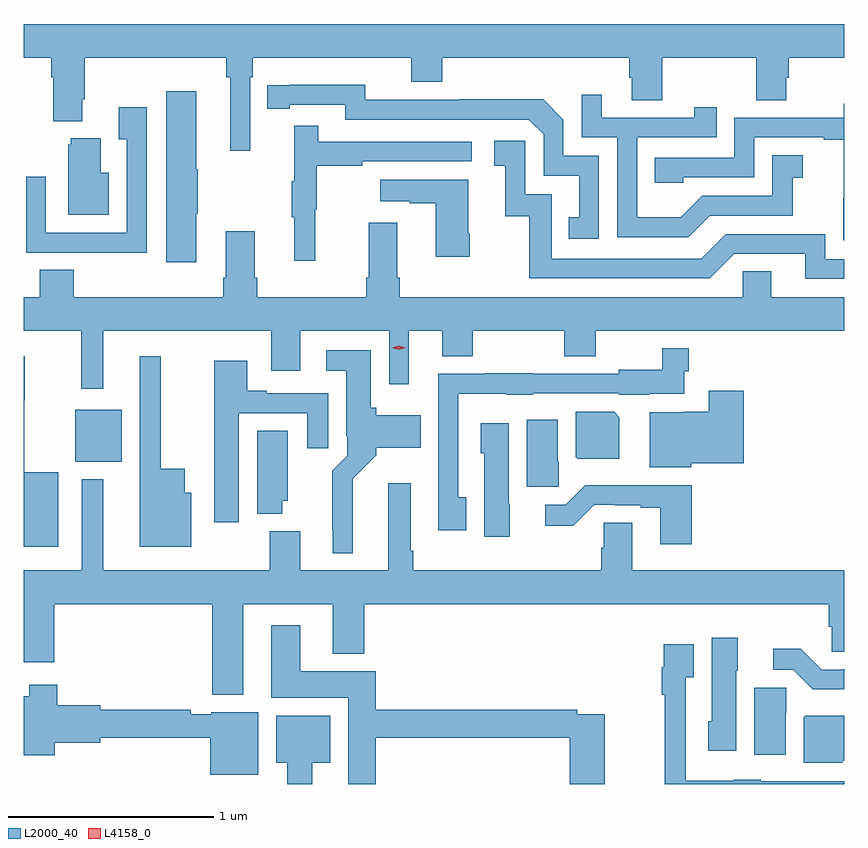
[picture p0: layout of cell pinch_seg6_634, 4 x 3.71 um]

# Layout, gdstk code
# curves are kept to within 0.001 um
import gdstk
lib = gdstk.Library(unit=1e-6, precision=1e-09)
def R(c, l, rs):  # rectangles x0, y0, x1, y1
    for r in rs: c.add(gdstk.rectangle(r[:2], r[2:], *l))
def P(c, l, *ps):  # polygons
    for p in ps: c.add(gdstk.Polygon(p, *l))
L2000_40 = (2000, 40)
L4158_0 = (4158, 0)

pinch_seg6_634 = lib.new_cell('pinch_seg6_634')
R(pinch_seg6_634, L2000_40, [(375.152,930.713,375.379,930.967)])
P(pinch_seg6_634, L2000_40, [(374.902,932.684),(375.035,932.684),(375.035,932.588),(375.047,932.588),(375.047,932.375),(375.187,932.375),(375.187,932.482),(375.2,932.482),(375.2,932.684),(375.889,932.684),(375.889,932.588),(375.908,932.588),(375.908,932.229),(376.005,932.229),(376.005,932.588),(376.019,932.588),(376.019,932.684),(376.79,932.684),(376.79,932.567),(376.943,932.567),(376.943,932.684),(377.855,932.684),(377.855,932.586),(377.867,932.586),(377.867,932.476),(378.015,932.476),(378.015,932.684),(378.472,932.684),(378.472,932.476),(378.619,932.476),(378.619,932.586),(378.632,932.586),(378.632,932.684),(378.902,932.684),(378.902,932.848),(374.902,932.848)],
  [(377.706,932.205),(377.532,932.205),(377.532,932.382),(377.434,932.48),(377.026,932.48),(377.026,932.478),(376.566,932.478),(376.566,932.551),(376.09,932.55),(376.09,932.434),(376.198,932.434),(376.198,932.454),(376.47,932.454),(376.47,932.382),(377.364,932.382),(377.436,932.31),(377.436,932.109),(377.609,932.109),(377.609,931.905),(377.56,931.905),(377.56,931.8),(377.706,931.8)],
  [(375.742,931.924),(375.75,931.924),(375.75,932.141),(375.742,932.141),(375.742,932.521),(375.596,932.521),(375.596,931.686),(375.742,931.686)],
  [(378.247,931.914),(378.651,931.914),(378.651,932.099),(378.7,932.099),(378.7,932.209),(378.552,932.209),(378.552,932.01),(378.21,932.01),(378.106,931.906),(377.892,931.906),(377.892,932.295),(378.281,932.295),(378.281,932.443),(378.17,932.443),(378.17,932.391),(377.719,932.391),(377.719,932.503),(377.622,932.503),(377.622,932.295),(377.796,932.295),(377.796,931.809),(378.142,931.809)],
  [(378.902,932.46),(378.9,932.46),(378.9,932.391),(378.366,932.391),(378.366,932.196),(377.977,932.196),(377.977,932.073),(378.117,932.073),(378.117,932.1),(378.462,932.1),(378.462,932.295),(378.803,932.295),(378.803,932.283),(378.899,932.283),(378.899,931.999),(378.898,931.999),(378.898,931.793),(378.902,931.793)],
  [(375.501,932.443),(375.365,932.443),(375.365,932.287),(375.405,932.287),(375.405,931.83),(375.009,931.83),(375.009,932.104),(374.913,932.104),(374.913,931.734),(375.229,931.734),(375.229,931.733),(375.501,931.733)],
  [(376.322,931.944),(376.33,931.944),(376.33,932.158),(376.553,932.158),(376.553,932.178),(377.086,932.178),(377.086,932.274),(376.337,932.274),(376.337,932.353),(376.22,932.353),(376.22,932.081),(376.209,932.081),(376.209,931.907),(376.22,931.907),(376.22,931.695),(376.322,931.695)],
  [(375.316,932.122),(375.277,932.122),(375.277,932.29),(375.131,932.29),(375.131,932.259),(375.119,932.259),(375.119,931.919),(375.316,931.919)],
  [(378.902,931.701),(378.81,931.701),(378.81,931.824),(378.324,931.824),(378.204,931.704),(377.475,931.704),(377.475,932.019),(377.346,932.019),(377.346,932.278),(377.196,932.278),(377.196,932.157),(377.249,932.157),(377.249,931.911),(377.367,931.911),(377.367,931.608),(378.246,931.608),(378.366,931.728),(378.713,931.728),(378.713,931.605),(378.902,931.605)],
  [(377.076,931.825),(377.068,931.825),(377.068,932.089),(376.641,932.089),(376.641,931.985),(376.784,931.985),(376.784,931.975),(376.91,931.975),(376.91,931.713),(377.076,931.713)],
  [(376.109,931.158),(376.249,931.158),(376.249,931.352),(376.683,931.352),(376.683,931.092),(376.78,931.092),(376.78,931.352),(376.943,931.352),(376.943,931.228),(377.091,931.228),(377.091,931.352),(377.536,931.352),(377.536,931.228),(377.691,931.228),(377.691,931.352),(378.902,931.352),(378.902,931.516),(378.547,931.516),(378.547,931.643),(378.408,931.643),(378.408,931.516),(376.736,931.516),(376.736,931.612),(376.723,931.612),(376.723,931.879),(376.583,931.879),(376.583,931.612),(376.571,931.612),(376.571,931.516),(376.04,931.516),(376.04,931.612),(376.027,931.612),(376.027,931.837),(375.887,931.837),(375.887,931.612),(375.875,931.612),(375.875,931.516),(375.146,931.516),(375.146,931.649),(374.981,931.649),(374.981,931.516),(374.902,931.516),(374.902,931.352),(375.183,931.352),(375.183,931.071),(375.289,931.071),(375.289,931.352),(376.109,931.352)],
  [(377.059,930.542),(377.019,930.542),(377.019,931.046),(377.253,931.046),(377.253,931.04),(377.385,931.04),(377.385,931.047),(377.802,931.047),(377.802,931.04),(377.952,931.04),(377.952,931.046),(378.123,931.046),(378.123,931.154),(378.143,931.154),(378.143,931.267),(378.015,931.267),(378.015,931.162),(377.802,931.162),(377.802,931.143),(377.385,931.143),(377.385,931.145),(377.153,931.145),(377.153,931.143),(376.923,931.143),(376.923,930.597),(376.922,930.597),(376.922,930.381),(377.059,930.381)],
  [(376.507,930.632),(376.62,930.745),(376.62,930.782),(376.837,930.782),(376.837,930.94),(376.62,930.94),(376.62,930.978),(376.594,930.978),(376.594,931.258),(376.377,931.258),(376.377,931.157),(376.475,931.157),(376.475,930.838),(376.479,930.838),(376.479,930.744),(376.405,930.67),(376.405,930.379),(376.409,930.379),(376.409,930.269),(376.507,930.269)],
  [(375.07,930.664),(374.905,930.664),(374.905,931.015),(374.908,931.015),(374.908,931.228),(374.902,931.228),(374.902,930.299),(375.07,930.299)],
  [(375.718,930.562),(375.688,930.562),(375.688,930.679),(375.571,930.679),(375.571,931.228),(375.467,931.228),(375.467,930.299),(375.718,930.299)],
  [(375.949,930.951),(376.283,930.951),(376.283,930.78),(376.387,930.78),(376.387,931.047),(376.087,931.047),(376.087,931.06),(375.991,931.06),(375.991,931.207),(375.83,931.207),(375.83,930.42),(375.949,930.42)],
  [(378.156,930.707),(378.413,930.707),(378.413,931.06),(378.242,931.06),(378.242,930.958),(378.12,930.958),(378.12,930.956),(377.954,930.956),(377.954,930.686),(378.156,930.686)],
  [(377.806,930.932),(377.78,930.958),(377.594,930.958),(377.594,930.736),(377.602,930.728),(377.806,930.728)],
  [(377.51,930.714),(377.506,930.714),(377.506,930.919),(377.354,930.919),(377.354,930.591),(377.51,930.591)],
  [(377.272,930.51),(377.266,930.51),(377.266,930.901),(377.129,930.901),(377.129,930.756),(377.147,930.756),(377.147,930.348),(377.272,930.348)],
  [(376.162,930.525),(376.189,930.525),(376.189,930.866),(376.04,930.866),(376.04,930.461),(376.162,930.461)],
  [(378.827,929.91),(378.84,929.91),(378.84,929.788),(378.902,929.788),(378.902,930.184),(377.869,930.184),(377.869,930.416),(377.73,930.416),(377.73,930.294),(377.717,930.294),(377.717,930.184),(376.802,930.184),(376.802,930.28),(376.789,930.28),(376.789,930.61),(376.679,930.61),(376.679,930.184),(376.249,930.184),(376.249,930.376),(376.102,930.376),(376.102,930.184),(375.289,930.184),(375.289,930.628),(375.185,930.628),(375.185,930.184),(374.902,930.184),(374.902,929.736),(375.05,929.736),(375.05,930.02),(375.821,930.02),(375.821,929.579),(375.973,929.579),(375.973,930.02),(376.409,930.02),(376.409,929.777),(376.562,929.777),(376.562,930.02),(378.827,930.02)],
  [(378.158,930.599),(377.639,930.599),(377.544,930.504),(377.445,930.504),(377.445,930.402),(377.58,930.402),(377.682,930.504),(377.782,930.504),(377.782,930.501),(377.909,930.501),(377.909,930.489),(378.005,930.489),(378.005,930.312),(378.158,930.312)],
  [(376.619,929.368),(377.564,929.368),(377.564,929.143),(377.734,929.143),(377.734,929.484),(377.6,929.484),(377.6,929.504),(376.619,929.504),(376.619,929.692),(376.249,929.692),(376.249,929.917),(376.109,929.917),(376.109,929.564),(376.484,929.564),(376.484,929.143),(376.619,929.143)],
  [(378.376,929.694),(378.382,929.694),(378.382,929.857),(378.257,929.857),(378.257,929.448),(378.239,929.448),(378.239,929.304),(378.376,929.304)],
  [(378.902,929.157),(378.495,929.157),(378.495,929.164),(378.363,929.164),(378.363,929.158),(378.129,929.158),(378.129,929.663),(378.169,929.663),(378.169,929.824),(378.021,929.824),(378.021,929.711),(378.013,929.711),(378.013,929.579),(378.028,929.579),(378.028,929.143),(378.902,929.143)],
  [(378.902,929.703),(378.892,929.703),(378.892,929.7),(378.792,929.7),(378.69,929.803),(378.555,929.803),(378.555,929.7),(378.654,929.7),(378.749,929.606),(378.902,929.606)],
  [(376.045,929.494),(375.816,929.494),(375.816,929.484),(375.716,929.484),(375.716,929.504),(375.274,929.504),(375.274,929.528),(375.065,929.528),(375.065,929.626),(374.93,929.626),(374.93,929.572),(374.902,929.572),(374.902,929.282),(375.052,929.282),(375.052,929.345),(375.274,929.345),(375.274,929.368),(375.812,929.368),(375.812,929.189),(376.045,929.189)],
  [(378.616,929.49),(378.62,929.49),(378.62,929.613),(378.464,929.613),(378.464,929.286),(378.616,929.286)],
  [(378.902,929.258),(378.902,929.476),(378.712,929.476),(378.704,929.468),(378.704,929.246),(378.89,929.246)],
  [(376.309,929.246),(376.396,929.246),(376.396,929.476),(376.133,929.476),(376.133,929.246),(376.187,929.246),(376.187,929.143),(376.309,929.143)])
P(pinch_seg6_634, L4158_0, [(376.73,931.26),(376.696,931.27),(376.695,931.27),(376.696,931.27),(376.73,931.28),(376.765,931.27),(376.766,931.27),(376.765,931.27)])

lib.write_gds('pinch_seg6_634.gds')
